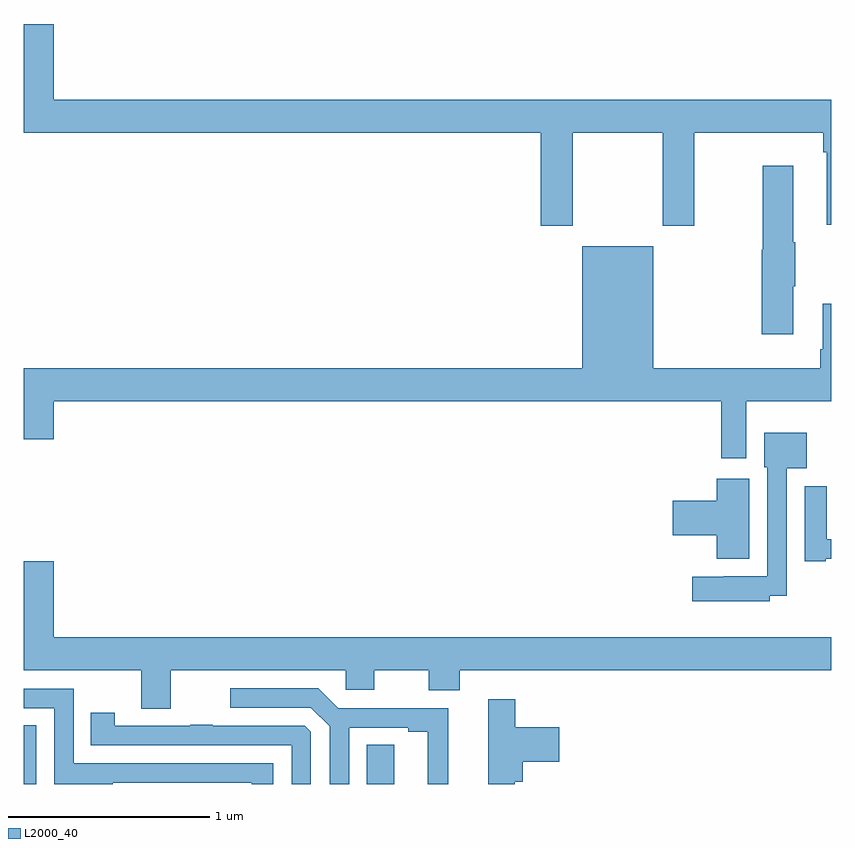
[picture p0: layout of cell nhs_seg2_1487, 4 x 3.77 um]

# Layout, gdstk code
import gdstk
lib = gdstk.Library(unit=1e-6, precision=1e-09)
def R(c, l, rs):  # rectangles x0, y0, x1, y1
    for r in rs: c.add(gdstk.rectangle(r[:2], r[2:], *l))
def P(c, l, *ps):  # polygons
    for p in ps: c.add(gdstk.Polygon(p, *l))
L2000_40 = (2000, 40)

nhs_seg2_1487 = lib.new_cell('nhs_seg2_1487')
R(nhs_seg2_1487, L2000_40, [(189,585.8,189.06,586.091), (190.7,585.8,190.834,585.995)])
P(nhs_seg2_1487, L2000_40, [(191.721,589.028),(192.166,589.028),(192.166,588.567),(192.321,588.567),(192.321,589.028),(192.961,589.028),(192.961,588.932),(192.98,588.932),(192.98,588.573),(193,588.573),(193,589.192),(189.148,589.192),(189.148,589.567),(189,589.567),(189,589.028),(191.561,589.028),(191.561,588.567),(191.721,588.567)],
  [(192.814,588.268),(192.822,588.268),(192.822,588.485),(192.814,588.485),(192.814,588.865),(192.661,588.865),(192.661,588.447),(192.656,588.447),(192.656,588.03),(192.814,588.03)],
  [(192.58,587.696),(193,587.696),(193,588.181),(192.959,588.181),(192.959,587.956),(192.947,587.956),(192.947,587.86),(192.118,587.86),(192.118,588.466),(191.768,588.466),(191.768,587.86),(189,587.86),(189,587.508),(189.148,587.508),(189.148,587.696),(192.455,587.696),(192.455,587.415),(192.58,587.415)],
  [(192.696,586.733),(192.78,586.733),(192.78,587.366),(192.88,587.366),(192.88,587.542),(192.668,587.542),(192.668,587.37),(192.684,587.37),(192.684,586.83),(192.468,586.83),(192.468,586.828),(192.312,586.828),(192.312,586.706),(192.696,586.706)],
  [(192.595,587.314),(192.434,587.314),(192.434,587.204),(192.216,587.204),(192.216,587.033),(192.434,587.033),(192.434,586.916),(192.595,586.916)],
  [(192.973,586.917),(193,586.917),(193,587.013),(192.979,587.013),(192.979,587.275),(192.869,587.275),(192.869,586.905),(192.973,586.905)],
  [(189.727,586.364),(190.596,586.364),(190.596,586.266),(190.735,586.266),(190.735,586.364),(191.006,586.364),(191.006,586.265),(191.159,586.265),(191.159,586.364),(193,586.364),(193,586.528),(189.148,586.528),(189.148,586.903),(189,586.903),(189,586.364),(189.58,586.364),(189.58,586.174),(189.727,586.174)],
  [(190.611,586.08),(190.904,586.08),(190.904,586.06),(191,586.06),(191,585.8),(191.104,585.8),(191.104,586.176),(190.558,586.176),(190.459,586.275),(190.023,586.275),(190.023,586.179),(190.422,586.179),(190.515,586.086),(190.515,585.8),(190.611,585.8)],
  [(189.441,585.807),(189.873,585.807),(189.873,585.806),(190.128,585.806),(190.128,585.8),(190.236,585.8),(190.236,585.903),(189.246,585.903),(189.246,586.272),(189,586.272),(189,586.176),(189.15,586.176),(189.15,585.8),(189.441,585.8)],
  [(191.432,585.812),(191.471,585.812),(191.471,585.911),(191.653,585.911),(191.653,586.081),(191.435,586.081),(191.435,586.219),(191.3,586.219),(191.3,585.8),(191.432,585.8)],
  [(190.422,586.059),(190.392,586.089),(189.935,586.089),(189.935,586.094),(189.823,586.094),(189.823,586.089),(189.45,586.089),(189.45,586.153),(189.331,586.153),(189.331,585.993),(190.326,585.993),(190.326,585.8),(190.422,585.8)])

lib.write_gds('nhs_seg2_1487.gds')
